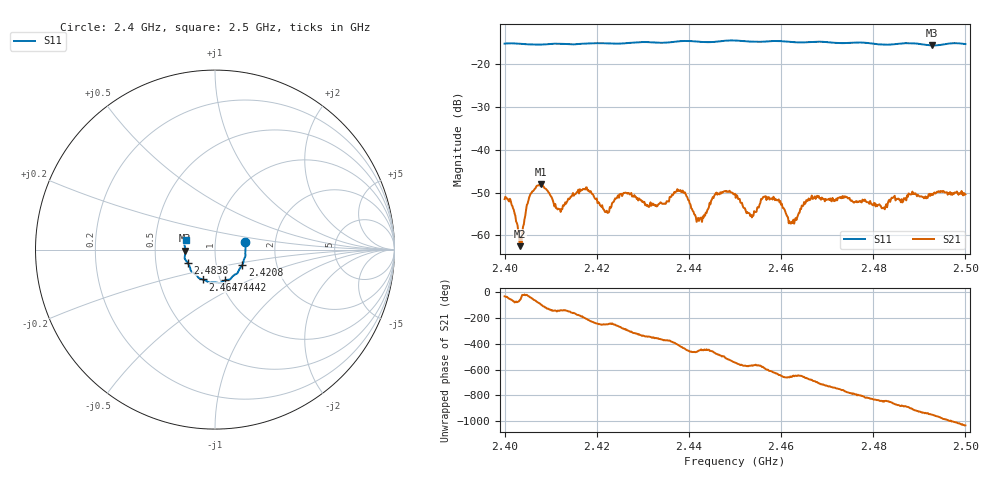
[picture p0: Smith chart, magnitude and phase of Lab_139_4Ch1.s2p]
# Hz S RI R 50
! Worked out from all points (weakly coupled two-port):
!   601 points, 2.4 GHz to 2.5 GHz, reference 50 ohm
!   highest |S21| = -48.02 dB at 2.4078 GHz (marker M1); lowest = -62.5 dB at 2.4033 GHz (marker M2)
!   lowest |S11| = -15.6 dB at 2.4928 GHz (marker M3), VSWR 1.40, Z = 35.8 - j0.389 ohm
!   |S11| at or under -10 dB: start of sweep to end of sweep
!   S12 and S22 are empty: the file has one direction only
!   S11 on the Smith chart (normalised r, x): 2.4 GHz: 1.40, +0.12; 2.4208 GHz: 1.33, -0.24; 2.4442 GHz: 1.05, -0.37; 2.4647 GHz: 0.83, -0.29; 2.4838 GHz: 0.73, -0.11; 2.5 GHz: 0.72, +0.08
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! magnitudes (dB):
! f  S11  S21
! 2.4 GHz  -15.2  -51.5
! 2.4033 GHz  -15.2  -62.5
! 2.4055 GHz  -15.4  -50.6
! 2.4078 GHz  -15.4  -48.0
! 2.412 GHz  -15.2  -53.9
! 2.4167 GHz  -15.3  -49.4
! 2.4208 GHz  -15.1  -53.1
! 2.4263 GHz  -15.1  -50.1
! 2.4333 GHz  -15.0  -52.8
! 2.438 GHz  -14.7  -49.7
! 2.4418 GHz  -14.7  -56.4
! 2.4442 GHz  -14.9  -53.9
! 2.45 GHz  -14.5  -50.3
! 2.4535 GHz  -14.7  -55.2
! 2.4588 GHz  -14.6  -51.5
! 2.4622 GHz  -14.8  -57.2
! 2.4647 GHz  -14.9  -53.2
! 2.4667 GHz  -14.8  -50.7
! 2.4833 GHz  -15.5  -51.9
! 2.4838 GHz  -15.4  -51.6
! 2.4928 GHz  -15.6  -50.3
! 2.5 GHz  -15.3  -50.4
